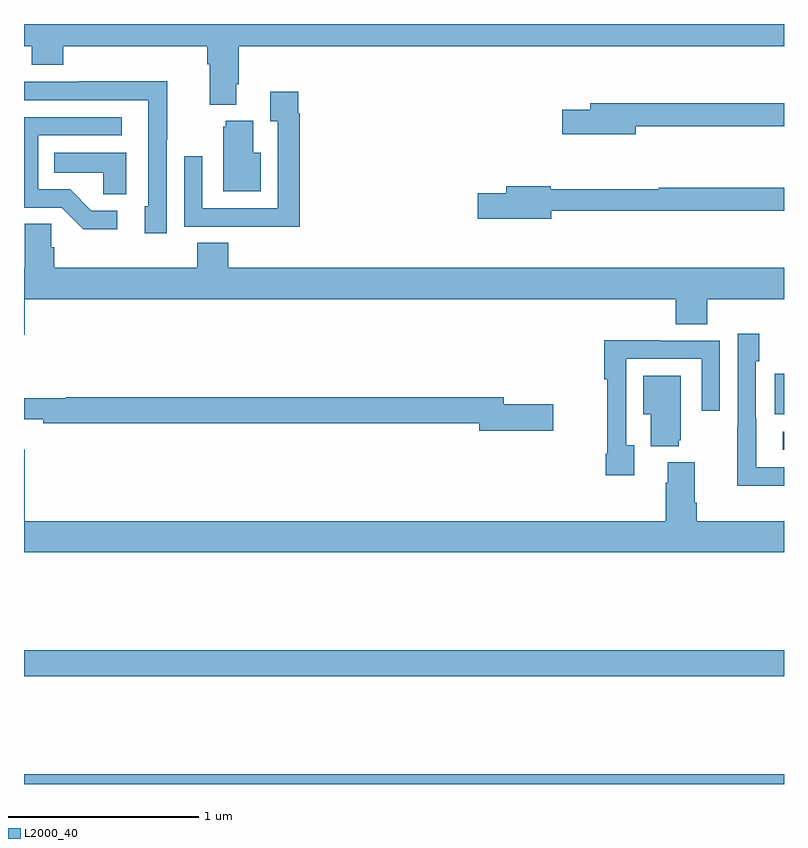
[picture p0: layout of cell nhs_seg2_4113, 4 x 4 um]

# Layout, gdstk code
import gdstk
lib = gdstk.Library(unit=1e-6, precision=1e-09)
def R(c, l, rs):  # rectangles x0, y0, x1, y1
    for r in rs: c.add(gdstk.rectangle(r[:2], r[2:], *l))
def P(c, l, *ps):  # polygons
    for p in ps: c.add(gdstk.Polygon(p, *l))
L2000_40 = (2000, 40)

nhs_seg2_4113 = lib.new_cell('nhs_seg2_4113')
R(nhs_seg2_4113, L2000_40, [(333,595.8,337,595.852), (333,596.368,337,596.504), (336.993,597.558,337,597.654), (336.95,597.746,337,597.958)])
P(nhs_seg2_4113, L2000_40, [(334.117,599.482),(334.13,599.482),(334.13,599.684),(337,599.684),(337,599.8),(333,599.8),(333,599.684),(333.041,599.684),(333.041,599.585),(333.206,599.585),(333.206,599.684),(333.965,599.684),(333.965,599.588),(333.977,599.588),(333.977,599.375),(334.117,599.375)],
  [(333.75,599.191),(333.753,599.191),(333.753,599.498),(333.289,599.498),(333.289,599.496),(333,599.496),(333,599.4),(333.654,599.4),(333.654,598.842),(333.635,598.842),(333.635,598.698),(333.75,598.698)],
  [(334.451,599.33),(334.444,599.33),(334.444,599.443),(334.295,599.443),(334.295,599.287),(334.335,599.287),(334.335,598.83),(333.939,598.83),(333.939,599.104),(333.843,599.104),(333.843,598.734),(334.159,598.734),(334.159,598.733),(334.451,598.733)],
  [(336.22,599.262),(337,599.262),(337,599.383),(335.981,599.383),(335.981,599.349),(335.832,599.349),(335.832,599.219),(336.22,599.219)],
  [(333.49,598.818),(333.355,598.818),(333.244,598.929),(333.075,598.929),(333.075,599.214),(333.514,599.214),(333.514,599.31),(333,599.31),(333,598.833),(333.198,598.833),(333.311,598.721),(333.49,598.721)],
  [(334.246,599.122),(334.207,599.122),(334.207,599.29),(334.061,599.29),(334.061,599.259),(334.049,599.259),(334.049,598.919),(334.246,598.919)],
  [(333.538,599.122),(333.16,599.122),(333.16,599.018),(333.417,599.018),(333.417,598.903),(333.538,598.903)],
  [(335.776,598.818),(337,598.818),(337,598.939),(336.341,598.939),(336.341,598.931),(335.772,598.931),(335.772,598.946),(335.537,598.946),(335.537,598.91),(335.388,598.91),(335.388,598.775),(335.776,598.775)],
  [(333.004,598.352),(336.431,598.352),(336.431,598.219),(336.596,598.219),(336.596,598.352),(337,598.352),(337,598.516),(334.076,598.516),(334.076,598.649),(333.911,598.649),(333.911,598.516),(333.158,598.516),(333.158,598.625),(333.144,598.625),(333.144,598.748),(333.005,598.748),(333.005,598.516),(333,598.516),(333,598.164),(333.004,598.164)],
  [(337,597.468),(336.853,597.468),(336.853,597.722),(336.852,597.722),(336.852,598.026),(336.871,598.026),(336.871,598.171),(336.756,598.171),(336.756,597.677),(336.754,597.677),(336.754,597.371),(337,597.371)],
  [(336.211,597.582),(336.171,597.582),(336.171,598.038),(336.567,598.038),(336.567,597.765),(336.663,597.765),(336.663,598.134),(336.347,598.134),(336.347,598.136),(336.055,598.136),(336.055,597.931),(336.07,597.931),(336.07,597.538),(336.063,597.538),(336.063,597.426),(336.211,597.426)],
  [(336.446,597.609),(336.457,597.609),(336.457,597.949),(336.26,597.949),(336.26,597.746),(336.299,597.746),(336.299,597.578),(336.446,597.578)],
  [(335.785,597.8),(335.524,597.8),(335.524,597.836),(333.22,597.836),(333.22,597.829),(333,597.829),(333,597.719),(333.1,597.719),(333.1,597.7),(335.396,597.7),(335.396,597.658),(335.785,597.658)],
  [(337,597.184),(336.542,597.184),(336.542,597.28),(336.529,597.28),(336.529,597.493),(336.389,597.493),(336.389,597.386),(336.377,597.386),(336.377,597.184),(333.004,597.184),(333.004,597.559),(333,597.559),(333,597.02),(337,597.02)])

lib.write_gds('nhs_seg2_4113.gds')
